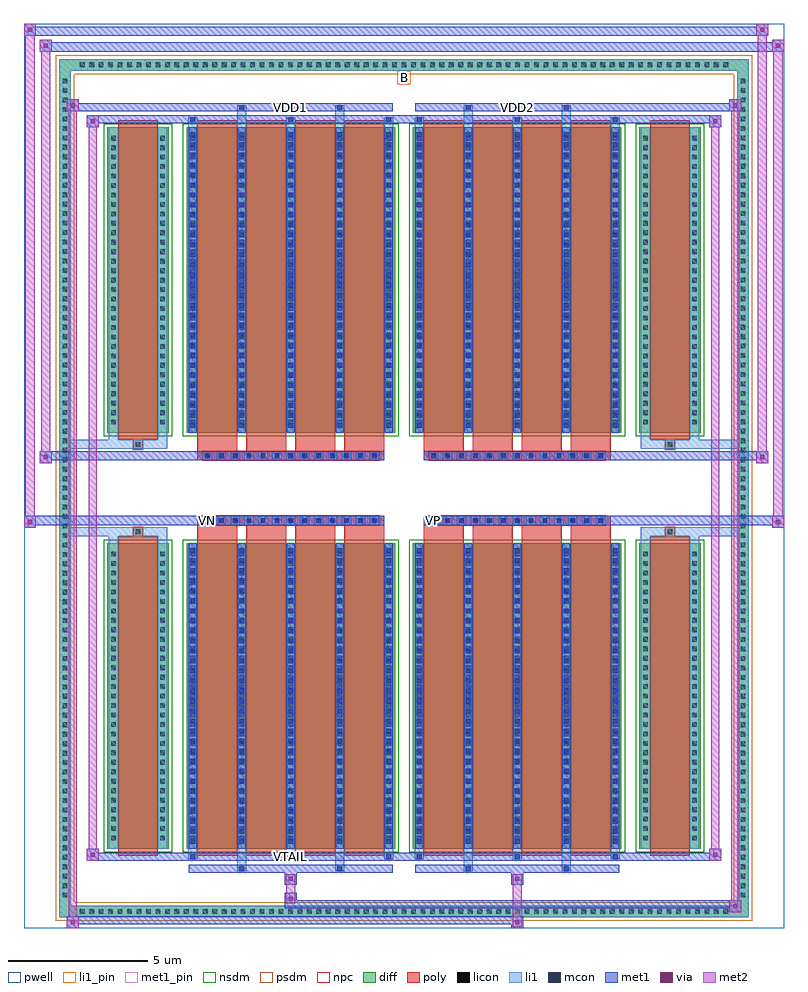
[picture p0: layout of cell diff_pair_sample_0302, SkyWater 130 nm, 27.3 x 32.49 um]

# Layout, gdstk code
import gdstk
lib = gdstk.Library(unit=1e-6, precision=5e-09)
def R(c, l, rs):  # rectangles x0, y0, x1, y1
    for r in rs: c.add(gdstk.rectangle(r[:2], r[2:], *l))
def A(c, l, x, y, w, h, nx, ny, dx, dy):  # array of equal rectangles
    R(c, l, [(x+i*dx, y+j*dy, x+i*dx+w, y+j*dy+h) for i in range(nx) for j in range(ny)])
def P(c, l, *ps):  # polygons
    for p in ps: c.add(gdstk.Polygon(p, *l))
pwell = (64, 44)
diff = (65, 20)
poly = (66, 20)
licon = (66, 44)
li1_pin = (67, 16)
li1 = (67, 20)
mcon = (67, 44)
met1_pin = (68, 16)
met1 = (68, 20)
via = (68, 44)
met2 = (69, 20)
nsdm = (93, 44)
psdm = (94, 20)
npc = (95, 20)

diff_pair_sample_0302 = lib.new_cell('diff_pair_sample_0302')
R(diff_pair_sample_0302, pwell, [(-13.65,-15.81,13.65,16.68), (-10.97,-14,-0.01,-0.8), (0.01,-14,10.97,-0.8), (-10.97,0.8,-0.01,14), (0.01,0.8,10.97,14)])
A(diff_pair_sample_0302, diff, -11.765, -15.41, 0.41, 0.41, 69, 2, 0.34, 30.41)
A(diff_pair_sample_0302, diff, -12.38, -14.825, 0.41, 0.41, 1, 87, 0, 0.34)
A(diff_pair_sample_0302, diff, 11.97, -14.825, 0.41, 0.41, 1, 87, 0, 0.34)
R(diff_pair_sample_0302, diff, [(-11.765,-15.41,11.765,-15), (-12.38,-14.825,-11.97,14.825), (11.97,-14.825,12.38,14.825), (-10.66,-12.955,-8.45,-1.985), (-7.81,-12.955,-0.32,-1.985), (0.32,-12.955,7.81,-1.985), (8.45,-12.955,10.66,-1.985), (-10.66,1.985,-8.45,12.955), (-7.81,1.985,-0.32,12.955), (0.32,1.985,7.81,12.955), (8.45,1.985,10.66,12.955), (-11.765,15,11.765,15.41)])
P(diff_pair_sample_0302, diff, [(12.38,15.41),(-12.38,15.41),(-12.38,-15),(-11.97,-15),(-11.97,15),(11.97,15),(11.97,-15),(-11.97,-15),(-12.38,-15),(-12.38,-15.41),(12.38,-15.41)])
A(diff_pair_sample_0302, poly, -7.42, -13.205, 1.43, 11.47, 4, 2, 1.76, 14.94)
A(diff_pair_sample_0302, poly, 0.71, -13.205, 1.43, 11.47, 4, 2, 1.76, 14.94)
A(diff_pair_sample_0302, poly, -7.42, -1.735, 1.43, 0.405, 4, 2, 1.76, 3.065)
A(diff_pair_sample_0302, poly, 0.71, -1.735, 1.43, 0.405, 4, 2, 1.76, 3.065)
A(diff_pair_sample_0302, poly, -7.23, -1.33, 0.33, 0.33, 13, 2, 0.5, 2.33)
A(diff_pair_sample_0302, poly, 0.9, -1.33, 0.33, 0.33, 13, 2, 0.5, 2.33)
R(diff_pair_sample_0302, poly, [(-10.27,-13.205,-8.84,-1.735), (8.84,-13.205,10.27,-1.735), (-9.72,-1.735,-9.39,-1.405), (-9.72,-1.735,-9.39,-1.405), (9.39,-1.735,9.72,-1.405), (9.39,-1.735,9.72,-1.405), (-7.42,-1.33,-0.71,-1), (0.71,-1.33,7.42,-1), (-7.42,1,-0.71,1.33), (0.71,1,7.42,1.33), (-9.72,1.405,-9.39,1.735), (-9.72,1.405,-9.39,1.735), (9.39,1.405,9.72,1.735), (9.39,1.405,9.72,1.735), (-10.27,1.735,-8.84,13.205), (8.84,1.735,10.27,13.205)])
A(diff_pair_sample_0302, licon, -11.645, -15.29, 0.17, 0.17, 69, 2, 0.34, 30.41)
A(diff_pair_sample_0302, licon, -12.26, -14.705, 0.17, 0.17, 1, 87, 0, 0.34)
A(diff_pair_sample_0302, licon, 12.09, -14.705, 0.17, 0.17, 1, 87, 0, 0.34)
A(diff_pair_sample_0302, licon, -10.52, -12.655, 0.17, 0.17, 1, 31, 0, 0.34)
A(diff_pair_sample_0302, licon, -8.76, -12.655, 0.17, 0.17, 1, 31, 0, 0.34)
A(diff_pair_sample_0302, licon, -7.67, -12.655, 0.17, 0.17, 5, 31, 1.76, 0.34)
A(diff_pair_sample_0302, licon, 0.46, -12.655, 0.17, 0.17, 5, 31, 1.76, 0.34)
A(diff_pair_sample_0302, licon, 8.59, -12.655, 0.17, 0.17, 1, 31, 0, 0.34)
A(diff_pair_sample_0302, licon, 10.35, -12.655, 0.17, 0.17, 1, 31, 0, 0.34)
A(diff_pair_sample_0302, licon, -7.15, -1.25, 0.17, 0.17, 13, 2, 0.5, 2.33)
A(diff_pair_sample_0302, licon, 0.98, -1.25, 0.17, 0.17, 13, 2, 0.5, 2.33)
A(diff_pair_sample_0302, licon, -10.52, 2.285, 0.17, 0.17, 1, 31, 0, 0.34)
A(diff_pair_sample_0302, licon, -8.76, 2.285, 0.17, 0.17, 1, 31, 0, 0.34)
A(diff_pair_sample_0302, licon, -7.67, 2.285, 0.17, 0.17, 5, 31, 1.76, 0.34)
A(diff_pair_sample_0302, licon, 0.46, 2.285, 0.17, 0.17, 5, 31, 1.76, 0.34)
A(diff_pair_sample_0302, licon, 8.59, 2.285, 0.17, 0.17, 1, 31, 0, 0.34)
A(diff_pair_sample_0302, licon, 10.35, 2.285, 0.17, 0.17, 1, 31, 0, 0.34)
R(diff_pair_sample_0302, licon, [(-9.64,-1.655,-9.47,-1.485), (9.47,-1.655,9.64,-1.485), (-9.64,1.485,-9.47,1.655), (9.47,1.485,9.64,1.655)])
R(diff_pair_sample_0302, li1_pin, [(-0.25,14.5,0.25,15)])
A(diff_pair_sample_0302, li1, -11.725, -15.37, 0.33, 0.33, 69, 2, 0.34, 30.41)
A(diff_pair_sample_0302, li1, -12.34, -14.785, 0.33, 0.33, 1, 87, 0, 0.34)
A(diff_pair_sample_0302, li1, 12.01, -14.785, 0.33, 0.33, 1, 87, 0, 0.34)
A(diff_pair_sample_0302, li1, -7.75, -13.33, 0.33, 0.375, 3, 2, 3.52, 26.285)
A(diff_pair_sample_0302, li1, -7.67, -13.33, 0.17, 0.17, 3, 2, 3.52, 26.49)
A(diff_pair_sample_0302, li1, 0.38, -13.33, 0.33, 0.375, 3, 2, 3.52, 26.285)
A(diff_pair_sample_0302, li1, 0.46, -13.33, 0.17, 0.17, 3, 2, 3.52, 26.49)
A(diff_pair_sample_0302, li1, -7.75, -12.955, 0.33, 10.97, 5, 2, 1.76, 14.94)
A(diff_pair_sample_0302, li1, 0.38, -12.955, 0.33, 10.97, 5, 2, 1.76, 14.94)
A(diff_pair_sample_0302, li1, -7.67, -12.775, 0.17, 0.17, 5, 30, 1.76, 0.36)
A(diff_pair_sample_0302, li1, -7.67, -12.775, 0.17, 10.61, 5, 2, 1.76, 14.94)
A(diff_pair_sample_0302, li1, 0.46, -12.775, 0.17, 0.17, 5, 30, 1.76, 0.36)
A(diff_pair_sample_0302, li1, 0.46, -12.775, 0.17, 10.61, 5, 2, 1.76, 14.94)
A(diff_pair_sample_0302, li1, -10.6, -12.735, 0.33, 0.33, 1, 31, 0, 0.34)
A(diff_pair_sample_0302, li1, -8.84, -12.735, 0.33, 0.33, 1, 31, 0, 0.34)
A(diff_pair_sample_0302, li1, -7.75, -12.735, 0.33, 0.33, 5, 31, 1.76, 0.34)
A(diff_pair_sample_0302, li1, 0.38, -12.735, 0.33, 0.33, 5, 31, 1.76, 0.34)
A(diff_pair_sample_0302, li1, 8.51, -12.735, 0.33, 0.33, 1, 31, 0, 0.34)
A(diff_pair_sample_0302, li1, 10.27, -12.735, 0.33, 0.33, 1, 31, 0, 0.34)
A(diff_pair_sample_0302, li1, -7.23, -1.33, 0.33, 0.33, 13, 2, 0.5, 2.33)
A(diff_pair_sample_0302, li1, 0.9, -1.33, 0.33, 0.33, 13, 2, 0.5, 2.33)
A(diff_pair_sample_0302, li1, -7.67, 2.165, 0.17, 0.17, 5, 30, 1.76, 0.36)
A(diff_pair_sample_0302, li1, 0.46, 2.165, 0.17, 0.17, 5, 30, 1.76, 0.36)
A(diff_pair_sample_0302, li1, -10.6, 2.205, 0.33, 0.33, 1, 31, 0, 0.34)
A(diff_pair_sample_0302, li1, -8.84, 2.205, 0.33, 0.33, 1, 31, 0, 0.34)
A(diff_pair_sample_0302, li1, -7.75, 2.205, 0.33, 0.33, 5, 31, 1.76, 0.34)
A(diff_pair_sample_0302, li1, 0.38, 2.205, 0.33, 0.33, 5, 31, 1.76, 0.34)
A(diff_pair_sample_0302, li1, 8.51, 2.205, 0.33, 0.33, 1, 31, 0, 0.34)
A(diff_pair_sample_0302, li1, 10.27, 2.205, 0.33, 0.33, 1, 31, 0, 0.34)
R(diff_pair_sample_0302, li1, [(-12.38,-15.41,-11.97,-15), (-12.38,-15.41,-11.97,-15), (-11.97,-15.41,11.97,-15), (11.97,-15.41,12.38,-15), (11.97,-15.41,12.38,-15), (-12.38,-15,-11.97,15), (11.97,-15,12.38,15), (-5.99,-13.76,-5.66,-12.955), (-5.91,-13.76,-5.74,-13.59), (-2.47,-13.76,-2.14,-12.955), (-2.39,-13.76,-2.22,-13.59), (2.14,-13.76,2.47,-12.955), (2.22,-13.76,2.39,-13.59), (5.66,-13.76,5.99,-12.955), (5.74,-13.76,5.91,-13.59), (-10.6,-12.955,-10.27,-1.985), (-8.84,-12.955,-8.51,-1.985), (8.51,-12.955,8.84,-1.985), (10.27,-12.955,10.6,-1.985), (-10.6,-1.985,-10.27,-1.405), (-8.84,-1.985,-8.51,-1.405), (8.51,-1.985,8.84,-1.405), (10.27,-1.985,10.6,-1.405), (-12.38,-1.735,-9.72,-1.405), (-10.6,-1.735,-9.72,-1.405), (-9.72,-1.735,-9.39,-1.405), (-9.39,-1.735,-8.51,-1.405), (8.51,-1.735,9.39,-1.405), (9.39,-1.735,9.72,-1.405), (9.39,-1.735,12.38,-1.405), (9.72,-1.735,10.6,-1.405), (-12.38,1.405,-9.72,1.735), (-10.6,1.405,-9.72,1.735), (-10.6,1.405,-10.27,1.985), (-9.72,1.405,-9.39,1.735), (-9.39,1.405,-8.51,1.735), (-8.84,1.405,-8.51,1.985), (8.51,1.405,9.39,1.735), (8.51,1.405,8.84,1.985), (9.39,1.405,9.72,1.735), (9.39,1.405,12.38,1.735), (9.72,1.405,10.6,1.735), (10.27,1.405,10.6,1.985), (-10.6,1.985,-10.27,12.955), (-8.84,1.985,-8.51,12.955), (8.51,1.985,8.84,12.955), (10.27,1.985,10.6,12.955), (-5.99,12.955,-5.66,13.76), (-2.47,12.955,-2.14,13.76), (2.14,12.955,2.47,13.76), (5.66,12.955,5.99,13.76), (-5.91,13.59,-5.74,13.76), (-2.39,13.59,-2.22,13.76), (2.22,13.59,2.39,13.76), (5.74,13.59,5.91,13.76), (-12.38,15,-11.97,15.41), (-12.38,15,-11.97,15.41), (-11.97,15,11.97,15.41), (11.97,15,12.38,15.41), (11.97,15,12.38,15.41)])
A(diff_pair_sample_0302, mcon, -7.67, -13.33, 0.17, 0.17, 3, 2, 3.52, 26.49)
A(diff_pair_sample_0302, mcon, 0.46, -13.33, 0.17, 0.17, 3, 2, 3.52, 26.49)
A(diff_pair_sample_0302, mcon, -7.67, -12.775, 0.17, 0.17, 5, 30, 1.76, 0.36)
A(diff_pair_sample_0302, mcon, 0.46, -12.775, 0.17, 0.17, 5, 30, 1.76, 0.36)
A(diff_pair_sample_0302, mcon, -7.15, -1.25, 0.17, 0.17, 13, 2, 0.5, 2.33)
A(diff_pair_sample_0302, mcon, 0.98, -1.25, 0.17, 0.17, 13, 2, 0.5, 2.33)
A(diff_pair_sample_0302, mcon, -7.67, 2.165, 0.17, 0.17, 5, 30, 1.76, 0.36)
A(diff_pair_sample_0302, mcon, 0.46, 2.165, 0.17, 0.17, 5, 30, 1.76, 0.36)
R(diff_pair_sample_0302, mcon, [(-5.91,-13.76,-5.74,-13.59), (-2.39,-13.76,-2.22,-13.59), (2.22,-13.76,2.39,-13.59), (5.74,-13.76,5.91,-13.59), (-5.91,13.59,-5.74,13.76), (-2.39,13.59,-2.22,13.76), (2.22,13.59,2.39,13.76), (5.74,13.59,5.91,13.76)])
R(diff_pair_sample_0302, met1_pin, [(-4.2,-13.37,-3.93,-13.1), (-7.2,-1.29,-6.93,-1.02), (0.93,-1.29,1.2,-1.02), (-4.2,13.55,-3.93,13.82), (3.93,13.55,4.2,13.82)])
A(diff_pair_sample_0302, met1, -7.73, -13.39, 0.29, 0.29, 3, 2, 3.52, 26.49)
A(diff_pair_sample_0302, met1, 0.4, -13.39, 0.29, 0.29, 3, 2, 3.52, 26.49)
A(diff_pair_sample_0302, met1, -7.73, -12.955, 0.29, 10.97, 5, 2, 1.76, 14.94)
A(diff_pair_sample_0302, met1, 0.4, -12.955, 0.29, 10.97, 5, 2, 1.76, 14.94)
A(diff_pair_sample_0302, met1, -7.73, -12.835, 0.29, 0.29, 5, 30, 1.76, 0.36)
A(diff_pair_sample_0302, met1, 0.4, -12.835, 0.29, 0.29, 5, 30, 1.76, 0.36)
A(diff_pair_sample_0302, met1, -7.21, -1.31, 0.29, 0.29, 13, 2, 0.5, 2.33)
A(diff_pair_sample_0302, met1, 0.92, -1.31, 0.29, 0.29, 13, 2, 0.5, 2.33)
A(diff_pair_sample_0302, met1, -7.73, 2.105, 0.29, 0.29, 5, 30, 1.76, 0.36)
A(diff_pair_sample_0302, met1, 0.4, 2.105, 0.29, 0.29, 5, 30, 1.76, 0.36)
R(diff_pair_sample_0302, met1, [(-12.11,-15.81,-11.68,-15.38), (3.85,-15.81,4.28,-15.38), (-12.11,-15.67,4.28,-15.38), (11.68,-15.24,12.11,-14.81), (-4.28,-15.1,12.11,-14.81), (-4.28,-14.96,-3.85,-14.53), (-4.28,-14.25,-3.85,-13.82), (3.85,-14.25,4.28,-13.82), (-7.73,-13.82,-0.4,-13.53), (-5.97,-13.82,-5.68,-13.53), (-2.45,-13.82,-2.16,-13.53), (0.4,-13.82,7.73,-13.53), (2.16,-13.82,2.45,-13.53), (5.68,-13.82,5.97,-13.53), (-11.4,-13.39,-10.97,-12.96), (-11.4,-13.39,-7.73,-13.1), (-7.73,-13.39,-0.4,-13.1), (-0.4,-13.39,0.4,-13.1), (0.4,-13.39,7.73,-13.1), (7.73,-13.39,11.4,-13.1), (10.97,-13.39,11.4,-12.96), (-13.65,-1.43,-13.22,-1), (13.22,-1.43,13.65,-1), (-13.65,-1.33,-0.71,-1), (-7.42,-1.33,-0.71,-1), (0.71,-1.33,7.42,-1), (0.71,-1.33,13.65,-1), (-13.08,0.9,-12.65,1.33), (12.65,0.9,13.08,1.33), (-13.08,1,-7.42,1.33), (-7.42,1,-0.71,1.33), (0.71,1,7.42,1.33), (7.42,1,13.08,1.33), (-11.4,12.96,-10.97,13.39), (10.97,12.96,11.4,13.39), (-11.4,13.1,-7.73,13.39), (-7.73,13.1,-0.4,13.39), (-0.4,13.1,0.4,13.39), (0.4,13.1,7.73,13.39), (7.73,13.1,11.4,13.39), (-12.11,13.53,-11.68,13.96), (-12.11,13.53,-7.73,13.82), (-7.73,13.53,-0.4,13.82), (-5.97,13.53,-5.68,13.82), (-2.45,13.53,-2.16,13.82), (0.4,13.53,7.73,13.82), (2.16,13.53,2.45,13.82), (5.68,13.53,5.97,13.82), (7.73,13.53,12.11,13.82), (11.68,13.53,12.11,13.96), (-13.08,15.68,-12.65,16.11), (-13.08,15.68,-10.97,16.01), (-10.97,15.68,10.97,16.01), (10.97,15.68,13.65,16.01), (13.22,15.68,13.65,16.11), (-13.65,16.25,-13.22,16.68), (-13.65,16.25,-10.97,16.58), (-10.97,16.25,10.97,16.58), (10.97,16.25,13.08,16.58), (12.65,16.25,13.08,16.68)])
R(diff_pair_sample_0302, via, [(-11.97,-15.67,-11.82,-15.52), (3.99,-15.67,4.14,-15.52), (11.82,-15.1,11.97,-14.95), (-4.14,-14.82,-3.99,-14.67), (-4.14,-14.11,-3.99,-13.96), (3.99,-14.11,4.14,-13.96), (-11.26,-13.25,-11.11,-13.1), (11.11,-13.25,11.26,-13.1), (-13.51,-1.29,-13.36,-1.14), (13.36,-1.29,13.51,-1.14), (-12.94,1.04,-12.79,1.19), (12.79,1.04,12.94,1.19), (-11.26,13.1,-11.11,13.25), (11.11,13.1,11.26,13.25), (-11.97,13.67,-11.82,13.82), (11.82,13.67,11.97,13.82), (-12.94,15.82,-12.79,15.97), (13.36,15.82,13.51,15.97), (-13.51,16.39,-13.36,16.54), (12.79,16.39,12.94,16.54)])
R(diff_pair_sample_0302, met2, [(-12.11,-15.81,-11.68,-15.38), (-12.04,-15.81,-11.75,13.96), (-11.75,-15.81,-11.68,-15.38), (-12.06,-15.76,-11.73,-15.43), (3.9,-15.76,4.23,-15.43), (3.9,-15.43,4.23,-14.2), (11.68,-15.24,12.11,-14.81), (11.75,-15.24,12.04,13.96), (12.04,-15.24,12.11,-14.81), (11.73,-15.19,12.06,-14.86), (-4.23,-14.91,-3.9,-14.58), (-4.23,-14.58,-3.9,-14.2), (-4.23,-14.2,-3.9,-13.87), (3.9,-14.2,4.23,-13.87), (-11.4,-13.39,-10.97,-12.96), (-11.33,-13.39,-11.04,13.39), (-11.04,-13.39,-10.97,-12.96), (10.97,-13.39,11.4,-12.96), (11.04,-13.39,11.33,13.39), (11.33,-13.39,11.4,-12.96), (-11.35,-13.34,-11.02,-13.01), (11.02,-13.34,11.35,-13.01), (-13.65,-1.43,-13.22,-1), (-13.6,-1.43,-13.27,16.68), (-13.27,-1.43,-13.22,-1), (13.22,-1.43,13.65,-1), (13.27,-1.43,13.6,16.11), (13.6,-1.43,13.65,-1), (-13.6,-1.38,-13.27,-1.05), (13.27,-1.38,13.6,-1.05), (-13.08,0.9,-12.65,1.33), (-13.03,0.9,-12.7,16.11), (-12.7,0.9,-12.65,1.33), (12.65,0.9,13.08,1.33), (12.7,0.9,13.03,16.68), (13.03,0.9,13.08,1.33), (-13.03,0.95,-12.7,1.28), (12.7,0.95,13.03,1.28), (-11.4,12.96,-10.97,13.39), (-11.04,12.96,-10.97,13.39), (10.97,12.96,11.4,13.39), (11.33,12.96,11.4,13.39), (-11.35,13.01,-11.02,13.34), (11.02,13.01,11.35,13.34), (-12.11,13.53,-11.68,13.96), (-11.75,13.53,-11.68,13.96), (11.68,13.53,12.11,13.96), (12.04,13.53,12.11,13.96), (-12.06,13.58,-11.73,13.91), (11.73,13.58,12.06,13.91), (-13.08,15.68,-12.65,16.11), (-12.7,15.68,-12.65,16.11), (13.22,15.68,13.65,16.11), (13.6,15.68,13.65,16.11), (-13.03,15.73,-12.7,16.06), (13.27,15.73,13.6,16.06), (-13.65,16.25,-13.22,16.68), (-13.27,16.25,-13.22,16.68), (12.65,16.25,13.08,16.68), (13.03,16.25,13.08,16.68), (-13.6,16.3,-13.27,16.63), (12.7,16.3,13.03,16.63)])
R(diff_pair_sample_0302, nsdm, [(-10.79,-13.085,-8.32,-1.855), (-7.94,-13.085,-0.19,-1.855), (0.19,-13.085,7.94,-1.855), (8.32,-13.085,10.79,-1.855), (-10.79,1.855,-8.32,13.085), (-7.94,1.855,-0.19,13.085), (0.19,1.855,7.94,13.085), (8.32,1.855,10.79,13.085)])
P(diff_pair_sample_0302, psdm, [(12.51,15.54),(-12.51,15.54),(-12.51,-14.87),(-11.84,-14.87),(-11.84,14.87),(11.84,14.87),(11.84,-14.87),(-11.84,-14.87),(-12.51,-14.87),(-12.51,-15.54),(12.51,-15.54)])
A(diff_pair_sample_0302, npc, -7.25, -1.35, 0.37, 0.37, 13, 2, 0.5, 2.33)
A(diff_pair_sample_0302, npc, 0.88, -1.35, 0.37, 0.37, 13, 2, 0.5, 2.33)
R(diff_pair_sample_0302, npc, [(-9.74,-1.755,-9.37,-1.385), (9.37,-1.755,9.74,-1.385), (-7.25,-1.35,-6.38,-0.98), (-7.25,-1.35,-6.38,-0.98), (-6.75,-1.35,-5.88,-0.98), (-6.75,-1.35,-5.88,-0.98), (-6.25,-1.35,-5.38,-0.98), (-6.25,-1.35,-5.38,-0.98), (-5.75,-1.35,-4.88,-0.98), (-5.75,-1.35,-4.88,-0.98), (-5.25,-1.35,-4.38,-0.98), (-5.25,-1.35,-4.38,-0.98), (-4.75,-1.35,-3.88,-0.98), (-4.75,-1.35,-3.88,-0.98), (-4.25,-1.35,-3.38,-0.98), (-4.25,-1.35,-3.38,-0.98), (-3.75,-1.35,-2.88,-0.98), (-3.75,-1.35,-2.88,-0.98), (-3.25,-1.35,-2.38,-0.98), (-3.25,-1.35,-2.38,-0.98), (-2.75,-1.35,-1.88,-0.98), (-2.75,-1.35,-1.88,-0.98), (-2.25,-1.35,-1.38,-0.98), (-2.25,-1.35,-1.38,-0.98), (-1.75,-1.35,-0.88,-0.98), (-1.75,-1.35,-0.88,-0.98), (0.88,-1.35,1.75,-0.98), (0.88,-1.35,1.75,-0.98), (1.38,-1.35,2.25,-0.98), (1.38,-1.35,2.25,-0.98), (1.88,-1.35,2.75,-0.98), (1.88,-1.35,2.75,-0.98), (2.38,-1.35,3.25,-0.98), (2.38,-1.35,3.25,-0.98), (2.88,-1.35,3.75,-0.98), (2.88,-1.35,3.75,-0.98), (3.38,-1.35,4.25,-0.98), (3.38,-1.35,4.25,-0.98), (3.88,-1.35,4.75,-0.98), (3.88,-1.35,4.75,-0.98), (4.38,-1.35,5.25,-0.98), (4.38,-1.35,5.25,-0.98), (4.88,-1.35,5.75,-0.98), (4.88,-1.35,5.75,-0.98), (5.38,-1.35,6.25,-0.98), (5.38,-1.35,6.25,-0.98), (5.88,-1.35,6.75,-0.98), (5.88,-1.35,6.75,-0.98), (6.38,-1.35,7.25,-0.98), (6.38,-1.35,7.25,-0.98), (-7.25,0.98,-6.38,1.35), (-7.25,0.98,-6.38,1.35), (-6.75,0.98,-5.88,1.35), (-6.75,0.98,-5.88,1.35), (-6.25,0.98,-5.38,1.35), (-6.25,0.98,-5.38,1.35), (-5.75,0.98,-4.88,1.35), (-5.75,0.98,-4.88,1.35), (-5.25,0.98,-4.38,1.35), (-5.25,0.98,-4.38,1.35), (-4.75,0.98,-3.88,1.35), (-4.75,0.98,-3.88,1.35), (-4.25,0.98,-3.38,1.35), (-4.25,0.98,-3.38,1.35), (-3.75,0.98,-2.88,1.35), (-3.75,0.98,-2.88,1.35), (-3.25,0.98,-2.38,1.35), (-3.25,0.98,-2.38,1.35), (-2.75,0.98,-1.88,1.35), (-2.75,0.98,-1.88,1.35), (-2.25,0.98,-1.38,1.35), (-2.25,0.98,-1.38,1.35), (-1.75,0.98,-0.88,1.35), (-1.75,0.98,-0.88,1.35), (0.88,0.98,1.75,1.35), (0.88,0.98,1.75,1.35), (1.38,0.98,2.25,1.35), (1.38,0.98,2.25,1.35), (1.88,0.98,2.75,1.35), (1.88,0.98,2.75,1.35), (2.38,0.98,3.25,1.35), (2.38,0.98,3.25,1.35), (2.88,0.98,3.75,1.35), (2.88,0.98,3.75,1.35), (3.38,0.98,4.25,1.35), (3.38,0.98,4.25,1.35), (3.88,0.98,4.75,1.35), (3.88,0.98,4.75,1.35), (4.38,0.98,5.25,1.35), (4.38,0.98,5.25,1.35), (4.88,0.98,5.75,1.35), (4.88,0.98,5.75,1.35), (5.38,0.98,6.25,1.35), (5.38,0.98,6.25,1.35), (5.88,0.98,6.75,1.35), (5.88,0.98,6.75,1.35), (6.38,0.98,7.25,1.35), (6.38,0.98,7.25,1.35), (-9.74,1.385,-9.37,1.755), (9.37,1.385,9.74,1.755)])
diff_pair_sample_0302.add(gdstk.Label('VTAIL', (-4.065,-13.235), layer=68, texttype=5))
diff_pair_sample_0302.add(gdstk.Label('VN', (-7.065,-1.155), layer=68, texttype=5))
diff_pair_sample_0302.add(gdstk.Label('VP', (1.065,-1.155), layer=68, texttype=5))
diff_pair_sample_0302.add(gdstk.Label('B', (0,14.75), layer=67, texttype=5))
diff_pair_sample_0302.add(gdstk.Label('VDD2', (4.065,13.685), layer=68, texttype=5))
diff_pair_sample_0302.add(gdstk.Label('VDD1', (-4.065,13.685), layer=68, texttype=5))

lib.write_gds('diff_pair_sample_0302.gds')
